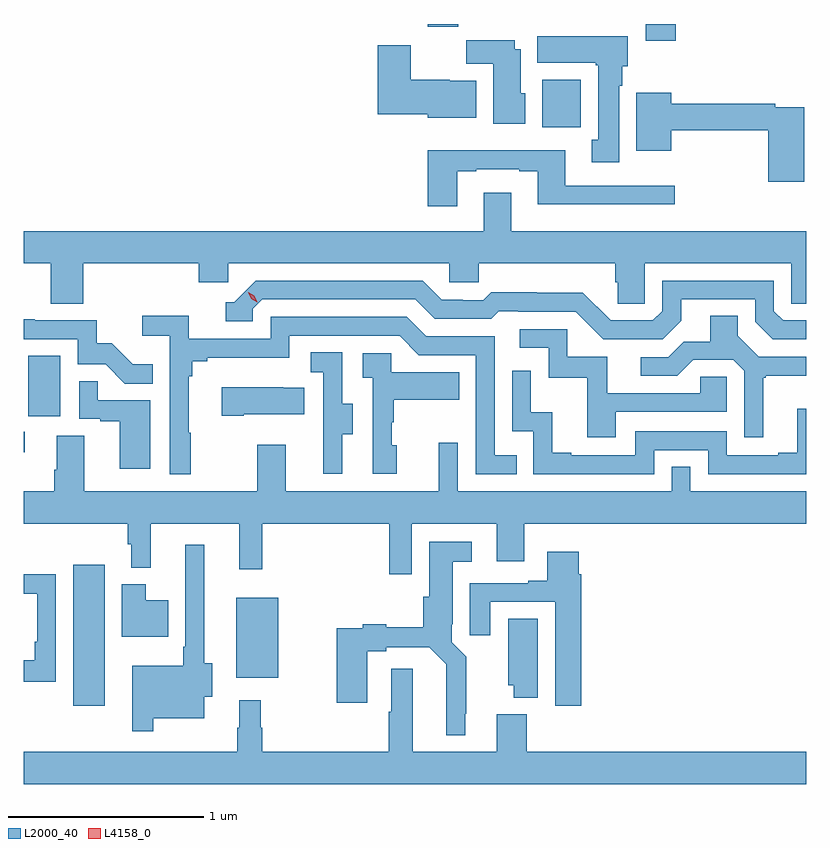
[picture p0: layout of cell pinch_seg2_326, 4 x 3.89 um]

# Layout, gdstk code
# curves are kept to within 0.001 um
import gdstk
lib = gdstk.Library(unit=1e-6, precision=1e-09)
def R(c, l, rs):  # rectangles x0, y0, x1, y1
    for r in rs: c.add(gdstk.rectangle(r[:2], r[2:], *l))
def P(c, l, *ps):  # polygons
    for p in ps: c.add(gdstk.Polygon(p, *l))
L2000_40 = (2000, 40)
L4158_0 = (4158, 0)

pinch_seg2_326 = lib.new_cell('pinch_seg2_326')
R(pinch_seg2_326, L2000_40, [(999.827,637.38,999.988,638.101), (1000.661,637.523,1000.876,637.933), (999.575,638.676,999.58,638.781), (999.596,638.862,999.76,639.169), (1002.227,640.34,1002.424,640.582), (1002.755,640.782,1002.908,640.867), (1001.639,640.852,1001.795,640.867)])
P(pinch_seg2_326, L2000_40, [(1002.619,640.55),(1002.634,640.55),(1002.634,640.65),(1002.664,640.65),(1002.664,640.804),(1002.2,640.804),(1002.2,640.67),(1002.499,640.67),(1002.499,640.657),(1002.512,640.657),(1002.512,640.274),(1002.479,640.274),(1002.479,640.161),(1002.619,640.161)],
  [(1002.139,640.512),(1002.115,640.512),(1002.115,640.738),(1002.085,640.738),(1002.085,640.783),(1001.836,640.783),(1001.836,640.664),(1001.975,640.664),(1001.975,640.358),(1002.139,640.358)],
  [(1001.887,640.576),(1001.754,640.576),(1001.754,640.582),(1001.554,640.582),(1001.554,640.759),(1001.384,640.759),(1001.384,640.406),(1001.64,640.406),(1001.64,640.388),(1001.887,640.388)],
  [(1003.565,640.44),(1003.418,640.44),(1003.418,640.46),(1002.886,640.46),(1002.886,640.516),(1002.707,640.516),(1002.707,640.22),(1002.886,640.22),(1002.886,640.324),(1003.382,640.324),(1003.382,640.059),(1003.565,640.059)],
  [(1001.791,640.113),(1001.887,640.113),(1001.887,640.125),(1002.107,640.125),(1002.107,640.113),(1002.203,640.113),(1002.203,639.944),(1002.904,639.944),(1002.904,640.041),(1002.343,640.041),(1002.343,640.222),(1001.639,640.222),(1001.639,639.936),(1001.791,639.936)],
  [(999.878,639.644),(1000.469,639.644),(1000.469,639.546),(1000.62,639.546),(1000.62,639.644),(1001.751,639.644),(1001.751,639.546),(1001.901,639.546),(1001.901,639.644),(1002.599,639.644),(1002.599,639.546),(1002.613,639.546),(1002.613,639.436),(1002.75,639.436),(1002.75,639.644),(1003.5,639.644),(1003.5,639.436),(1003.575,639.436),(1003.575,639.808),(1002.067,639.808),(1002.067,640.003),(1001.927,640.003),(1001.927,639.808),(999.575,639.808),(999.575,639.644),(999.713,639.644),(999.713,639.436),(999.878,639.436)],
  [(1002.937,639.349),(1002.937,639.459),(1003.314,639.459),(1003.314,639.345),(1003.404,639.255),(1003.575,639.255),(1003.575,639.351),(1003.458,639.351),(1003.41,639.399),(1003.41,639.555),(1002.84,639.555),(1002.84,639.399),(1002.792,639.351),(1002.576,639.351),(1002.434,639.493),(1002.198,639.493),(1002.198,639.496),(1001.965,639.496),(1001.923,639.453),(1001.82,639.453),(1001.82,639.456),(1001.713,639.456),(1001.614,639.555),(1000.761,639.555),(1000.65,639.444),(1000.607,639.444),(1000.607,639.348),(1000.746,639.348),(1000.746,639.411),(1000.794,639.459),(1001.577,639.459),(1001.676,639.36),(1001.965,639.36),(1002.004,639.399),(1002.103,639.399),(1002.103,639.396),(1002.396,639.396),(1002.537,639.255),(1002.843,639.255)],
  [(1000.429,638.777),(1000.417,638.777),(1000.417,639.065),(1000.436,639.065),(1000.436,639.142),(1000.513,639.142),(1000.513,639.161),(1000.932,639.161),(1000.932,639.273),(1001.496,639.273),(1001.595,639.174),(1001.886,639.174),(1001.886,638.565),(1002.095,638.565),(1002.095,638.661),(1001.982,638.661),(1001.982,639.27),(1001.632,639.27),(1001.533,639.369),(1000.836,639.369),(1000.836,639.258),(1000.418,639.258),(1000.418,639.374),(1000.179,639.374),(1000.179,639.272),(1000.32,639.272),(1000.32,638.565),(1000.429,638.565)],
  [(1003.357,639.057),(1003.369,639.057),(1003.369,639.068),(1003.575,639.068),(1003.575,639.165),(1003.332,639.165),(1003.225,639.272),(1003.225,639.374),(1003.085,639.374),(1003.085,639.242),(1002.95,639.242),(1002.87,639.162),(1002.729,639.162),(1002.729,639.069),(1002.916,639.069),(1002.997,639.15),(1003.203,639.15),(1003.26,639.093),(1003.26,638.754),(1003.357,638.754)],
  [(1000.235,639.127),(1000.131,639.127),(1000.024,639.234),(999.948,639.234),(999.948,639.351),(999.629,639.351),(999.629,639.356),(999.575,639.356),(999.575,639.255),(999.849,639.255),(999.849,639.126),(999.993,639.126),(1000.091,639.028),(1000.235,639.028)],
  [(1002.601,638.883),(1003.17,638.883),(1003.17,639.063),(1003.033,639.063),(1003.033,638.979),(1002.559,638.979),(1002.559,639.165),(1002.354,639.165),(1002.354,639.306),(1002.111,639.306),(1002.111,639.21),(1002.258,639.21),(1002.258,639.057),(1002.457,639.057),(1002.457,638.754),(1002.601,638.754)],
  [(1001.203,638.77),(1001.257,638.77),(1001.257,638.925),(1001.202,638.925),(1001.202,639.188),(1001.043,639.188),(1001.043,639.085),(1001.106,639.085),(1001.106,638.781),(1001.105,638.781),(1001.105,638.568),(1001.203,638.568)],
  [(1001.482,638.712),(1001.457,638.712),(1001.457,638.831),(1001.467,638.831),(1001.467,638.945),(1001.801,638.945),(1001.801,639.085),(1001.454,639.085),(1001.454,639.183),(1001.307,639.183),(1001.307,639.059),(1001.358,639.059),(1001.358,638.568),(1001.482,638.568)],
  [(1002.798,638.688),(1003.074,638.688),(1003.074,638.565),(1003.575,638.565),(1003.575,638.899),(1003.529,638.899),(1003.529,638.674),(1003.433,638.674),(1003.433,638.661),(1003.17,638.661),(1003.17,638.784),(1002.702,638.784),(1002.702,638.661),(1002.373,638.661),(1002.373,638.674),(1002.278,638.674),(1002.278,638.882),(1002.168,638.882),(1002.168,639.094),(1002.072,639.094),(1002.072,638.784),(1002.18,638.784),(1002.18,638.565),(1002.798,638.565)],
  [(1000.222,638.943),(999.953,638.943),(999.953,639.041),(999.858,639.041),(999.858,638.847),(999.965,638.847),(999.965,638.835),(1000.064,638.835),(1000.064,638.592),(1000.222,638.592)],
  [(1000.699,638.87),(1001.009,638.87),(1001.009,639.007),(1000.901,639.007),(1000.901,639.01),(1000.587,639.01),(1000.587,638.863),(1000.699,638.863)],
  [(999.883,638.762),(999.743,638.762),(999.743,638.588),(999.731,638.588),(999.731,638.476),(999.575,638.476),(999.575,638.312),(1000.105,638.312),(1000.105,638.205),(1000.124,638.205),(1000.124,638.087),(1000.223,638.087),(1000.223,638.312),(1000.676,638.312),(1000.676,638.079),(1000.793,638.079),(1000.793,638.312),(1001.443,638.312),(1001.443,638.052),(1001.559,638.052),(1001.559,638.312),(1001.993,638.312),(1001.993,638.118),(1002.133,638.118),(1002.133,638.312),(1003.575,638.312),(1003.575,638.476),(1002.984,638.476),(1002.984,638.603),(1002.888,638.603),(1002.888,638.476),(1001.793,638.476),(1001.793,638.725),(1001.696,638.725),(1001.696,638.476),(1000.915,638.476),(1000.915,638.716),(1000.768,638.716),(1000.768,638.476),(999.883,638.476)],
  [(1001.833,637.339),(1001.837,637.339),(1001.837,637.63),(1001.763,637.704),(1001.763,637.798),(1001.767,637.798),(1001.767,638.117),(1001.866,638.117),(1001.866,638.218),(1001.648,638.218),(1001.648,637.938),(1001.618,637.938),(1001.618,637.781),(1001.428,637.781),(1001.428,637.796),(1001.308,637.796),(1001.308,637.776),(1001.174,637.776),(1001.174,637.395),(1001.332,637.395),(1001.332,637.66),(1001.428,637.66),(1001.428,637.68),(1001.648,637.68),(1001.736,637.592),(1001.735,637.229),(1001.833,637.229)],
  [(1000.237,637.316),(1000.498,637.316),(1000.498,637.427),(1000.537,637.427),(1000.537,637.598),(1000.498,637.598),(1000.498,638.203),(1000.401,638.203),(1000.401,637.681),(1000.389,637.681),(1000.389,637.585),(1000.128,637.585),(1000.128,637.251),(1000.237,637.251)],
  [(1002.425,638.054),(1002.412,638.054),(1002.412,638.167),(1002.251,638.167),(1002.251,638.02),(1002.155,638.02),(1002.155,638.007),(1001.855,638.007),(1001.855,637.74),(1001.959,637.74),(1001.959,637.911),(1002.293,637.911),(1002.293,637.38),(1002.425,637.38)],
  [(999.738,638.054),(999.575,638.054),(999.575,637.953),(999.642,637.953),(999.642,637.708),(999.629,637.708),(999.629,637.612),(999.575,637.612),(999.575,637.503),(999.738,637.503)],
  [(1000.312,637.921),(1000.198,637.921),(1000.198,638.002),(1000.076,638.002),(1000.076,637.733),(1000.312,637.733)],
  [(1002.202,637.826),(1002.053,637.826),(1002.053,637.485),(1002.08,637.485),(1002.08,637.421),(1002.202,637.421)],
  [(1001.453,637.57),(1001.453,637.349),(1001.441,637.349),(1001.441,637.144),(1000.793,637.144),(1000.793,637.268),(1000.786,637.268),(1000.786,637.408),(1000.676,637.408),(1000.676,637.268),(1000.665,637.268),(1000.665,637.144),(999.575,637.144),(999.575,636.98),(1003.575,636.98),(1003.575,637.144),(1002.146,637.144),(1002.146,637.336),(1001.993,637.336),(1001.993,637.144),(1001.563,637.144),(1001.563,637.57)])
P(pinch_seg2_326, L4158_0, [(1000.769,639.444),(1000.738,639.463),(1000.721,639.495),(1000.721,639.496),(1000.721,639.496),(1000.752,639.477),(1000.769,639.444),(1000.769,639.444)])

lib.write_gds('pinch_seg2_326.gds')
